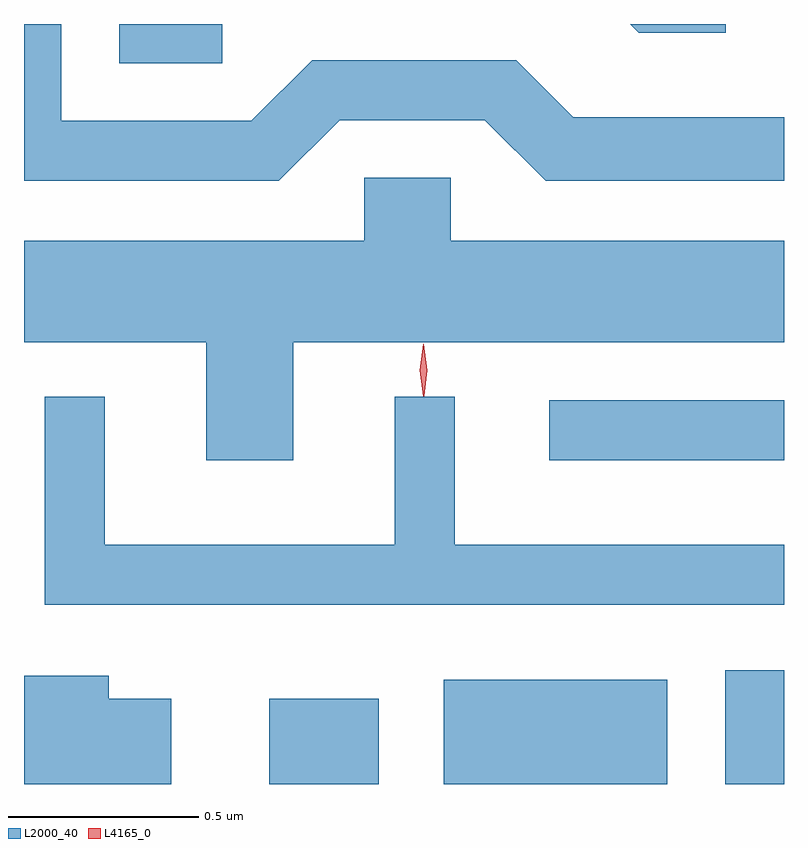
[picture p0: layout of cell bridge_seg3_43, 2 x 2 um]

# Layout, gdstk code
import gdstk
lib = gdstk.Library(unit=1e-6, precision=1e-09)
def R(c, l, rs):  # rectangles x0, y0, x1, y1
    for r in rs: c.add(gdstk.rectangle(r[:2], r[2:], *l))
def P(c, l, *ps):  # polygons
    for p in ps: c.add(gdstk.Polygon(p, *l))
L2000_40 = (2000, 40)
L4165_0 = (4165, 0)

bridge_seg3_43 = lib.new_cell('bridge_seg3_43')
R(bridge_seg3_43, L2000_40, [(1183.496,1198.114,1183.784,1198.339), (1183.956,1198.114,1184.544,1198.389), (1184.696,1198.114,1184.851,1198.414), (1184.233,1198.966,1184.851,1199.124), (1183.101,1200.011,1183.373,1200.114)])
P(bridge_seg3_43, L2000_40, [(1183.682,1199.861),(1184.064,1199.861),(1184.224,1199.701),(1184.851,1199.701),(1184.851,1199.869),(1184.297,1199.869),(1184.147,1200.019),(1183.609,1200.019),(1183.449,1199.859),(1182.949,1199.859),(1182.949,1200.114),(1182.851,1200.114),(1182.851,1199.701),(1183.522,1199.701)],
  [(1184.698,1200.114),(1184.446,1200.114),(1184.469,1200.091),(1184.698,1200.091)],
  [(1183.559,1199.276),(1184.851,1199.276),(1184.851,1199.544),(1183.974,1199.544),(1183.974,1199.709),(1183.746,1199.709),(1183.746,1199.544),(1182.851,1199.544),(1182.851,1199.276),(1183.331,1199.276),(1183.331,1198.966),(1183.559,1198.966)],
  [(1184.851,1198.744),(1183.984,1198.744),(1183.984,1199.133),(1183.826,1199.133),(1183.826,1198.744),(1183.064,1198.744),(1183.064,1199.133),(1182.906,1199.133),(1182.906,1198.586),(1184.851,1198.586)],
  [(1183.239,1198.339),(1183.074,1198.339),(1183.074,1198.399),(1182.851,1198.399),(1182.851,1198.114),(1183.239,1198.114)])
P(bridge_seg3_43, L4165_0, [(1183.902,1199.135),(1183.893,1199.203),(1183.902,1199.271),(1183.902,1199.272),(1183.903,1199.271),(1183.912,1199.203),(1183.904,1199.135),(1183.903,1199.135)])

lib.write_gds('bridge_seg3_43.gds')
